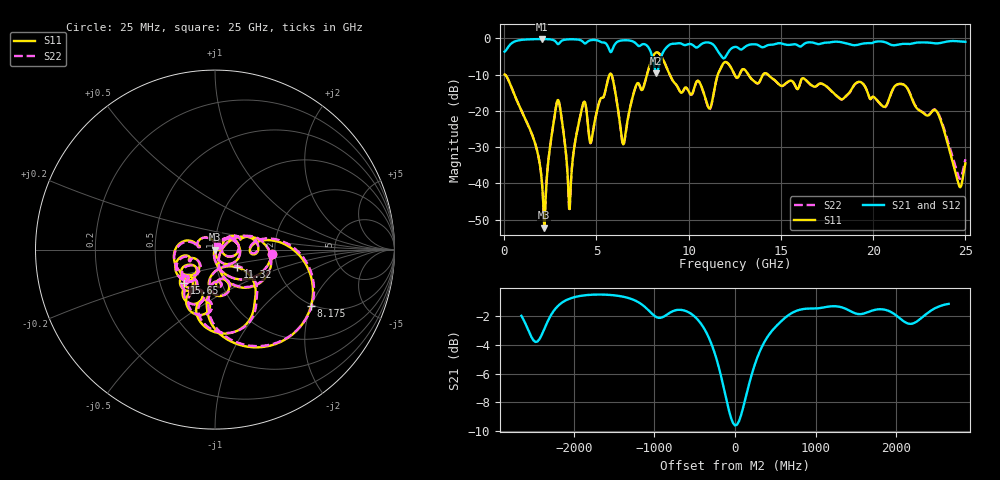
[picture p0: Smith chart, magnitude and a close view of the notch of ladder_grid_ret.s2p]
! RG_s4_pwr_n4: kisi's ladder with the plane pair as a finite cavity (grid) (Finite board 24 × 16 mm, via L1 → L4 through the GND/PWR pair L2/L3, four GND vias at 1 mm joined to L2 only (openings in the PWR plane L3))
# Hz S RI R 50
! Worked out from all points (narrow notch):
!   1000 points, 25 MHz to 25 GHz, reference 50 ohm
!   highest |S21| = -0.21 dB at 2.025 GHz (marker M1); lowest = -9.6 dB at 8.25 GHz (marker M2)
!   notch at M2: 8.2 dB deep, 444 MHz wide at half that depth
!   lowest |S11| = -52.2 dB at 2.175 GHz (marker M3), VSWR 1.00, Z = 49.8 + j0.0265 ohm
!   |S11| at or under -10 dB: 41.66 MHz to 5.715 GHz (5.674 GHz wide, 197 % of centre); 8.976 GHz to 11.58 GHz (2.605 GHz wide, 25.3 % of centre); 14.3 GHz to end of sweep (the widest 3 of 6)
!   |S22| runs from -51.7 to -3.9 dB; largest |S21 - S12| = 0
!   S11 on the Smith chart (normalised r, x): 25 MHz: 1.92, -0.10; 8.175 GHz: 1.94, -2.00; 11.32 GHz: 1.25, -0.25; 15.65 GHz: 0.67, -0.26; 25 GHz: 1.02, +0.03
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2.5e7  0.3169 -0.0232  0.6561 0.0212  0.6561 0.0212  0.3169 -0.0232
2.025e9  -0.00482 -0.011  0.9641 -0.1527  0.9641 -0.1527  -0.00485 -0.011
2.175e9  -0.00245 0.000266  0.9596 -0.176  0.9596 -0.176  -0.00258 0.000285
2.875e9  0.1351 0.0155  0.8097 -0.2474  0.8097 -0.2474  0.1348 0.0169
3.55e9  0.00439 0.000661  0.9268 -0.2845  0.9268 -0.2845  0.00405 0.000839
4.2e9  0.0802 0.0658  0.8344 -0.4006  0.8344 -0.4006  0.0788 0.0672
4.725e9  0.0362 0.0138  0.8632 -0.3872  0.8632 -0.3872  0.0354 0.0147
5.775e9  0.2982 -0.1315  0.5593 -0.3217  0.5593 -0.3217  0.3003 -0.1251
6.475e9  0.0335 -0.00967  0.8036 -0.4886  0.8036 -0.4886  0.0329 -0.00834
8.175e9  0.5345 -0.3161  0.2137 -0.3063  0.2137 -0.3063  0.5429 -0.3003
8.25e9  0.4838 -0.4184  0.2576 -0.2085  0.2576 -0.2085  0.4951 -0.404
8.35e9  0.3702 -0.5124  0.362 -0.1197  0.362 -0.1197  0.3842 -0.5012
9e9  -0.0465 -0.3037  0.7572 -0.3256  0.7572 -0.3256  -0.0385 -0.3043
1.1325e10  0.1234 -0.0988  0.4615 -0.6798  0.4615 -0.6798  0.1257 -0.0921
1.1925e10  0.1418 -0.4423  0.3851 -0.3658  0.3851 -0.3658  0.1583 -0.4351
1.2525e10  -0.0869 -0.2909  0.574 -0.5018  0.574 -0.5018  -0.0765 -0.2926
1.565e10  -0.1717 -0.1843  0.4591 -0.6878  0.4591 -0.6878  -0.1639 -0.1901
1.6675e10  -0.1722 -0.1433  0.4247 -0.768  0.4247 -0.768  -0.1661 -0.1492
2.085e10  -0.0906 -0.1109  0.0661 -0.8385  0.0661 -0.8385  -0.0837 -0.1131
2.34e10  -0.0845 0.0561  -0.0414 -0.8502  -0.0414 -0.8502  -0.0891 0.0529
2.465e10  0.00666 0.00675  -0.1751 -0.8897  -0.1751 -0.8897  0.0061 0.0105
2.5e10  0.0118 0.0148  -0.1992 -0.8732  -0.1992 -0.8732  0.0106 0.0187
